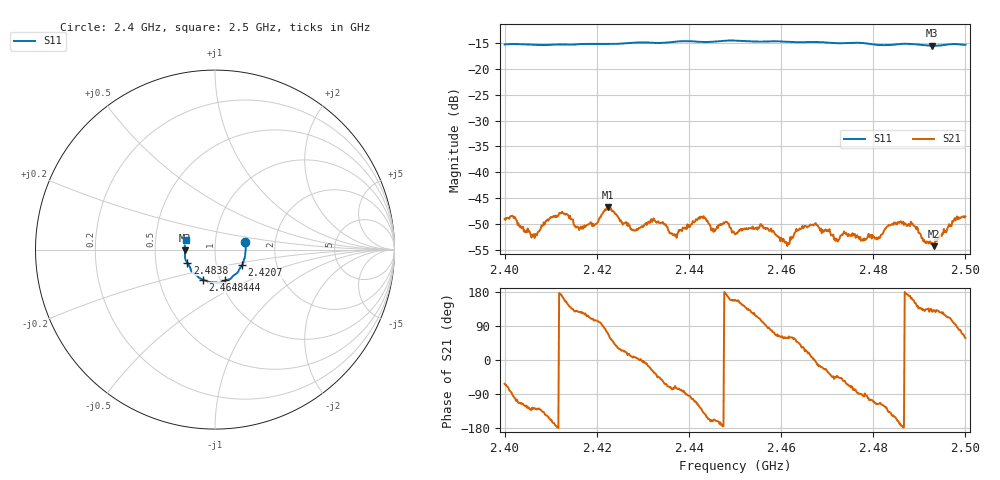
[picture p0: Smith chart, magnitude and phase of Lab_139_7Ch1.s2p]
# Hz S RI R 50
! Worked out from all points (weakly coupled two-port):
!   601 points, 2.4 GHz to 2.5 GHz, reference 50 ohm
!   highest |S21| = -46.70 dB at 2.4223 GHz (marker M1); lowest = -54.3 dB at 2.4932 GHz (marker M2)
!   lowest |S11| = -15.6 dB at 2.4928 GHz (marker M3), VSWR 1.40, Z = 35.7 - j0.34 ohm
!   |S11| at or under -10 dB: start of sweep to end of sweep
!   S12 and S22 are empty: the file has one direction only
!   S11 on the Smith chart (normalised r, x): 2.4 GHz: 1.39, +0.12; 2.4207 GHz: 1.33, -0.24; 2.444 GHz: 1.06, -0.37; 2.4648 GHz: 0.83, -0.29; 2.4838 GHz: 0.73, -0.11; 2.5 GHz: 0.72, +0.08
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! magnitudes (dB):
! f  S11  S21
! 2.4 GHz  -15.3  -49.0
! 2.4062 GHz  -15.4  -52.0
! 2.4123 GHz  -15.3  -47.9
! 2.4167 GHz  -15.2  -50.9
! 2.4207 GHz  -15.2  -48.7
! 2.4223 GHz  -15.2  -46.7
! 2.4278 GHz  -15.0  -51.2
! 2.4333 GHz  -15.0  -49.5
! 2.437 GHz  -14.8  -52.3
! 2.444 GHz  -14.8  -49.3
! 2.45 GHz  -14.6  -52.0
! 2.456 GHz  -14.8  -50.3
! 2.4613 GHz  -14.8  -54.2
! 2.4648 GHz  -14.9  -50.8
! 2.4667 GHz  -14.8  -50.1
! 2.472 GHz  -15.1  -52.8
! 2.4833 GHz  -15.4  -50.2
! 2.4838 GHz  -15.4  -50.2
! 2.4887 GHz  -15.3  -50.2
! 2.4928 GHz  -15.6  -53.6
! 2.4932 GHz  -15.6  -54.3
! 2.5 GHz  -15.4  -48.5
